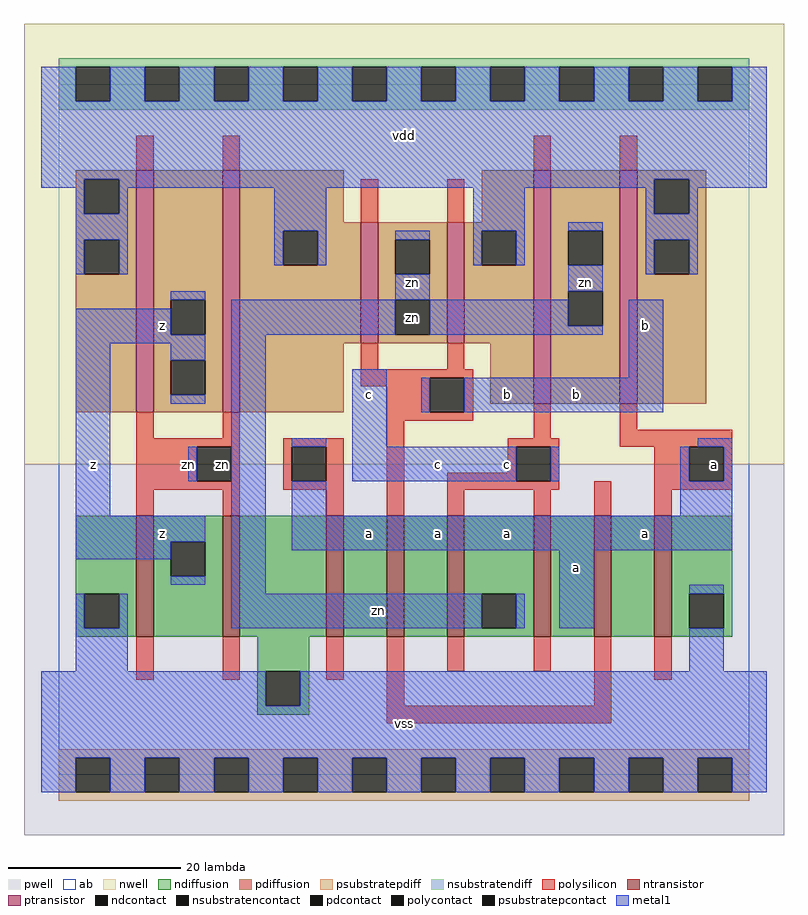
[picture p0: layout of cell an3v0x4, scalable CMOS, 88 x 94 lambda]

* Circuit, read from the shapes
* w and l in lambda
.subckt an3v0x4 a b c vdd vss z zn
M1 z zn vss vss nfet w=14 l=2 m=2
M2 n1 a vss vss nfet w=14 l=2
M3 n2 b n1 vss nfet w=14 l=2
M4 zn c n2 vss nfet w=14 l=2
M5 n3 c zn vss nfet w=14 l=2
M6 n4 b n3 vss nfet w=14 l=2
M7 vss a n4 vss nfet w=14 l=2
M8 z zn vdd vdd pfet w=28 l=2 m=2
M9 zn b vdd vdd pfet w=14 l=2 m=2
M10 zn c vdd vdd pfet w=27 l=2
M11 vdd a zn vdd pfet w=27 l=2
.ends

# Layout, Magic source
magic
tech scmos
<< ab >>
rect 0 0 80 80
<< pwell >>
rect -4 -7 84 36
<< nwell >>
rect -4 36 84 87
<< polysilicon >>
rect 9 70 11 74
rect 19 70 21 74
rect 55 70 57 74
rect 65 70 67 74
rect 35 64 37 69
rect 45 64 47 69
rect 35 47 37 50
rect 45 47 47 50
rect 35 46 48 47
rect 35 45 43 46
rect 38 42 43 45
rect 47 42 48 46
rect 9 39 11 42
rect 19 39 21 42
rect 38 41 48 42
rect 9 38 21 39
rect 9 34 16 38
rect 20 34 21 38
rect 9 33 21 34
rect 26 38 33 39
rect 26 34 27 38
rect 31 34 33 38
rect 26 33 33 34
rect 9 30 11 33
rect 19 30 21 33
rect 31 30 33 33
rect 38 30 40 41
rect 55 39 57 43
rect 65 40 67 43
rect 52 38 58 39
rect 65 38 78 40
rect 52 35 53 38
rect 45 34 53 35
rect 57 34 58 38
rect 69 34 73 38
rect 77 34 78 38
rect 45 33 58 34
rect 45 30 47 33
rect 55 30 57 33
rect 62 30 64 34
rect 69 33 78 34
rect 69 30 71 33
rect 9 11 11 16
rect 19 11 21 16
rect 31 11 33 16
rect 38 8 40 16
rect 45 12 47 16
rect 55 12 57 16
rect 62 8 64 16
rect 69 11 71 16
rect 38 6 64 8
<< ndiffusion >>
rect 2 21 9 30
rect 2 17 3 21
rect 7 17 9 21
rect 2 16 9 17
rect 11 27 19 30
rect 11 23 13 27
rect 17 23 19 27
rect 11 16 19 23
rect 21 16 31 30
rect 33 16 38 30
rect 40 16 45 30
rect 47 21 55 30
rect 47 17 49 21
rect 53 17 55 21
rect 47 16 55 17
rect 57 16 62 30
rect 64 16 69 30
rect 71 21 78 30
rect 71 17 73 21
rect 77 17 78 21
rect 71 16 78 17
rect 23 12 29 16
rect 23 8 24 12
rect 28 8 29 12
rect 23 7 29 8
<< pdiffusion >>
rect 2 69 9 70
rect 2 65 3 69
rect 7 65 9 69
rect 2 62 9 65
rect 2 58 3 62
rect 7 58 9 62
rect 2 42 9 58
rect 11 55 19 70
rect 11 51 13 55
rect 17 51 19 55
rect 11 48 19 51
rect 11 44 13 48
rect 17 44 19 48
rect 11 42 19 44
rect 21 64 33 70
rect 49 64 55 70
rect 21 63 35 64
rect 21 59 26 63
rect 30 59 35 63
rect 21 50 35 59
rect 37 62 45 64
rect 37 58 39 62
rect 43 58 45 62
rect 37 55 45 58
rect 37 51 39 55
rect 43 51 45 55
rect 37 50 45 51
rect 47 63 55 64
rect 47 59 49 63
rect 53 59 55 63
rect 47 50 55 59
rect 21 42 33 50
rect 50 43 55 50
rect 57 63 65 70
rect 57 59 59 63
rect 63 59 65 63
rect 57 56 65 59
rect 57 52 59 56
rect 63 52 65 56
rect 57 43 65 52
rect 67 69 75 70
rect 67 65 69 69
rect 73 65 75 69
rect 67 62 75 65
rect 67 58 69 62
rect 73 58 75 62
rect 67 43 75 58
<< metal1 >>
rect -2 78 2 82
rect 6 78 10 82
rect 14 78 18 82
rect 22 78 26 82
rect 30 78 34 82
rect 38 78 42 82
rect 46 78 50 82
rect 54 78 58 82
rect 62 78 66 82
rect 70 78 74 82
rect 78 78 82 82
rect -2 69 82 78
rect -2 68 3 69
rect 2 65 3 68
rect 7 68 69 69
rect 7 65 8 68
rect 2 62 8 65
rect 2 58 3 62
rect 7 58 8 62
rect 25 63 31 68
rect 48 63 54 68
rect 68 65 69 68
rect 73 68 82 69
rect 73 65 74 68
rect 25 59 26 63
rect 30 59 31 63
rect 39 62 43 63
rect 48 59 49 63
rect 53 59 54 63
rect 59 63 63 64
rect 13 55 17 56
rect 39 55 43 58
rect 59 56 63 59
rect 68 62 74 65
rect 68 58 69 62
rect 73 58 74 62
rect 2 51 13 54
rect 2 50 17 51
rect 2 30 6 50
rect 13 48 17 50
rect 13 43 17 44
rect 20 51 39 55
rect 43 52 59 55
rect 43 51 63 52
rect 15 34 16 38
rect 2 27 17 30
rect 2 25 13 27
rect 13 22 17 23
rect 20 21 24 51
rect 27 38 31 39
rect 34 38 38 47
rect 66 46 70 55
rect 42 42 43 46
rect 47 42 70 46
rect 74 38 78 39
rect 34 34 53 38
rect 57 34 58 38
rect 72 34 73 38
rect 77 34 78 38
rect 27 30 31 34
rect 72 30 78 34
rect 27 26 78 30
rect 2 17 3 21
rect 7 17 8 21
rect 20 17 49 21
rect 53 17 54 21
rect 58 17 62 26
rect 73 21 77 22
rect 2 12 8 17
rect 73 12 77 17
rect -2 8 24 12
rect 28 8 82 12
rect -2 2 82 8
rect -2 -2 2 2
rect 6 -2 10 2
rect 14 -2 18 2
rect 22 -2 26 2
rect 30 -2 34 2
rect 38 -2 42 2
rect 46 -2 50 2
rect 54 -2 58 2
rect 62 -2 66 2
rect 70 -2 74 2
rect 78 -2 82 2
<< ntransistor >>
rect 9 16 11 30
rect 19 16 21 30
rect 31 16 33 30
rect 38 16 40 30
rect 45 16 47 30
rect 55 16 57 30
rect 62 16 64 30
rect 69 16 71 30
<< ptransistor >>
rect 9 42 11 70
rect 19 42 21 70
rect 35 50 37 64
rect 45 50 47 64
rect 55 43 57 70
rect 65 43 67 70
<< polycontact >>
rect 43 42 47 46
rect 16 34 20 38
rect 27 34 31 38
rect 53 34 57 38
rect 73 34 77 38
<< ndcontact >>
rect 3 17 7 21
rect 13 23 17 27
rect 49 17 53 21
rect 73 17 77 21
rect 24 8 28 12
<< pdcontact >>
rect 3 65 7 69
rect 3 58 7 62
rect 13 51 17 55
rect 13 44 17 48
rect 26 59 30 63
rect 39 58 43 62
rect 39 51 43 55
rect 49 59 53 63
rect 59 59 63 63
rect 59 52 63 56
rect 69 65 73 69
rect 69 58 73 62
<< psubstratepcontact >>
rect 2 -2 6 2
rect 10 -2 14 2
rect 18 -2 22 2
rect 26 -2 30 2
rect 34 -2 38 2
rect 42 -2 46 2
rect 50 -2 54 2
rect 58 -2 62 2
rect 66 -2 70 2
rect 74 -2 78 2
<< nsubstratencontact >>
rect 2 78 6 82
rect 10 78 14 82
rect 18 78 22 82
rect 26 78 30 82
rect 34 78 38 82
rect 42 78 46 82
rect 50 78 54 82
rect 58 78 62 82
rect 66 78 70 82
rect 74 78 78 82
<< psubstratepdiff >>
rect 0 2 80 3
rect 0 -2 2 2
rect 6 -2 10 2
rect 14 -2 18 2
rect 22 -2 26 2
rect 30 -2 34 2
rect 38 -2 42 2
rect 46 -2 50 2
rect 54 -2 58 2
rect 62 -2 66 2
rect 70 -2 74 2
rect 78 -2 80 2
rect 0 -3 80 -2
<< nsubstratendiff >>
rect 0 82 80 83
rect 0 78 2 82
rect 6 78 10 82
rect 14 78 18 82
rect 22 78 26 82
rect 30 78 34 82
rect 38 78 42 82
rect 46 78 50 82
rect 54 78 58 82
rect 62 78 66 82
rect 70 78 74 82
rect 78 78 80 82
rect 0 77 80 78
<< labels >>
rlabel polysilicon 15 36 15 36 6 zn
rlabel metal1 4 36 4 36 6 z
rlabel metal1 12 28 12 28 6 z
rlabel polycontact 19 36 19 36 6 zn
rlabel metal1 12 52 12 52 6 z
rlabel metal1 40 6 40 6 6 vss
rlabel metal1 44 28 44 28 6 a
rlabel metal1 36 28 36 28 6 a
rlabel metal1 44 36 44 36 6 c
rlabel metal1 36 44 36 44 6 c
rlabel metal1 41 57 41 57 6 zn
rlabel metal1 40 74 40 74 6 vdd
rlabel metal1 52 28 52 28 6 a
rlabel metal1 37 19 37 19 6 zn
rlabel metal1 60 24 60 24 6 a
rlabel metal1 52 36 52 36 6 c
rlabel metal1 52 44 52 44 6 b
rlabel metal1 60 44 60 44 6 b
rlabel pdcontact 41 53 41 53 6 zn
rlabel metal1 61 57 61 57 6 zn
rlabel metal1 68 28 68 28 6 a
rlabel polycontact 76 36 76 36 6 a
rlabel metal1 68 52 68 52 6 b
<< end >>
